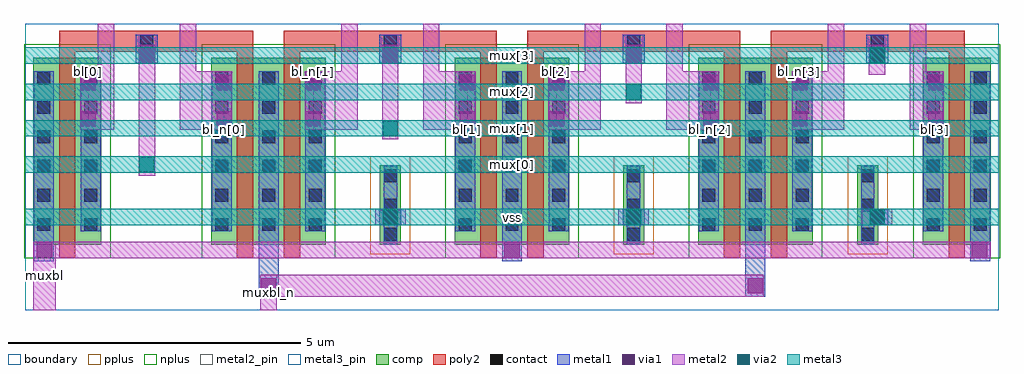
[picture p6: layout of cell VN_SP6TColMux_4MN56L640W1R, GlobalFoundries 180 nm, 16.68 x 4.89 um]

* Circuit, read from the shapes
.subckt VN_SP6TColMux_4MN56L640W1R bl[0] bl[1] bl[2] bl[3] bl_n[0] bl_n[1] bl_n[2] bl_n[3] mux[0] mux[1] mux[2] mux[3] muxbl muxbl_n vss
XM1 bl[0] mux[0] muxbl vss nfet_03v3 w=3.2u l=0.28u
XM2 muxbl_n mux[0] bl_n[0] vss nfet_03v3 w=3.2u l=0.28u
XM3 bl_n[1] mux[1] muxbl_n vss nfet_03v3 w=3.2u l=0.28u
XM4 muxbl mux[1] bl[1] vss nfet_03v3 w=3.2u l=0.28u
XM5 bl[2] mux[2] muxbl vss nfet_03v3 w=3.2u l=0.28u
XM6 muxbl_n mux[2] bl_n[2] vss nfet_03v3 w=3.2u l=0.28u
XM7 bl_n[3] mux[3] muxbl_n vss nfet_03v3 w=3.2u l=0.28u
XM8 muxbl mux[3] bl[3] vss nfet_03v3 w=3.2u l=0.28u
.ends

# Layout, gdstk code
import gdstk
lib = gdstk.Library(unit=1e-6, precision=1e-09)
def R(c, l, rs):  # rectangles x0, y0, x1, y1
    for r in rs: c.add(gdstk.rectangle(r[:2], r[2:], *l))
def A(c, l, x, y, w, h, nx, ny, dx, dy):  # array of equal rectangles
    R(c, l, [(x+i*dx, y+j*dy, x+i*dx+w, y+j*dy+h) for i in range(nx) for j in range(ny)])
def P(c, l, *ps):  # polygons
    for p in ps: c.add(gdstk.Polygon(p, *l))
boundary = (0, 0)
comp = (22, 0)
poly2 = (30, 0)
pplus = (31, 0)
nplus = (32, 0)
contact = (33, 0)
metal1 = (34, 0)
via1 = (35, 0)
metal2 = (36, 0)
metal2_pin = (36, 10)
via2 = (38, 0)
metal3 = (42, 0)
metal3_pin = (42, 10)

vn_sp6tcolmux_4mn56l640w = lib.new_cell('VN_SP6TColMux_4MN56L640W1R')
R(vn_sp6tcolmux_4mn56l640w, boundary, [(0,0,16.64,4.895)])
A(vn_sp6tcolmux_4mn56l640w, comp, 3.18, 1.115, 1.96, 3.2, 3, 1, 4.16, 0)
R(vn_sp6tcolmux_4mn56l640w, comp, [(0.14,1.115,1.3,4.315), (6.06,1.115,6.42,2.475), (10.22,1.115,10.58,2.475), (14.22,1.115,14.58,2.475), (15.34,1.115,16.5,4.315)])
P(vn_sp6tcolmux_4mn56l640w, poly2, [(4.42,0.895),(4.42,4.775),(8.06,4.775),(8.06,0.895),(7.78,0.895),(7.78,4.415),(4.7,4.415),(4.7,0.895)],
  [(8.58,0.895),(8.58,4.775),(12.22,4.775),(12.22,0.895),(11.94,0.895),(11.94,4.415),(8.86,4.415),(8.86,0.895)],
  [(0.58,0.895),(0.58,4.775),(3.9,4.775),(3.9,0.895),(3.62,0.895),(3.62,4.415),(0.86,4.415),(0.86,0.895)],
  [(12.74,0.895),(12.74,4.775),(16.06,4.775),(16.06,0.895),(15.78,0.895),(15.78,4.415),(13.02,4.415),(13.02,0.895)])
R(vn_sp6tcolmux_4mn56l640w, pplus, [(5.9,0.955,6.58,2.635), (10.06,0.955,10.74,2.635), (14.06,0.955,14.74,2.635)])
A(vn_sp6tcolmux_4mn56l640w, nplus, 3.02, 0.885, 2.28, 3.66, 3, 1, 4.16, 0)
R(vn_sp6tcolmux_4mn56l640w, nplus, [(-0.02,0.885,1.46,4.545), (15.18,0.885,16.66,4.545)])
A(vn_sp6tcolmux_4mn56l640w, contact, 6.13, 1.185, 0.22, 0.22, 1, 3, 0, 0.5)
A(vn_sp6tcolmux_4mn56l640w, contact, 10.29, 1.185, 0.22, 0.22, 1, 3, 0, 0.5)
A(vn_sp6tcolmux_4mn56l640w, contact, 14.29, 1.185, 0.22, 0.22, 1, 3, 0, 0.5)
A(vn_sp6tcolmux_4mn56l640w, contact, 0.21, 1.355, 0.22, 0.22, 1, 6, 0, 0.5)
A(vn_sp6tcolmux_4mn56l640w, contact, 1.01, 1.355, 0.22, 0.22, 1, 6, 0, 0.5)
A(vn_sp6tcolmux_4mn56l640w, contact, 3.25, 1.355, 0.22, 0.22, 3, 6, 0.8, 0.5)
A(vn_sp6tcolmux_4mn56l640w, contact, 7.41, 1.355, 0.22, 0.22, 3, 6, 0.8, 0.5)
A(vn_sp6tcolmux_4mn56l640w, contact, 11.57, 1.355, 0.22, 0.22, 3, 6, 0.8, 0.5)
A(vn_sp6tcolmux_4mn56l640w, contact, 15.41, 1.355, 0.22, 0.22, 1, 6, 0, 0.5)
A(vn_sp6tcolmux_4mn56l640w, contact, 16.21, 1.355, 0.22, 0.22, 1, 6, 0, 0.5)
A(vn_sp6tcolmux_4mn56l640w, contact, 1.97, 4.485, 0.22, 0.22, 4, 1, 4.16, 0)
A(vn_sp6tcolmux_4mn56l640w, metal1, 0.15, 0.84, 0.34, 3.24, 3, 1, 8, 0)
A(vn_sp6tcolmux_4mn56l640w, metal1, 1.89, 4.22, 0.38, 0.49, 4, 1, 4.16, 0)
R(vn_sp6tcolmux_4mn56l640w, metal1, [(3.99,0.23,4.33,4.08), (12.31,0.23,12.65,4.08), (0.95,1.35,1.29,4.08), (3.19,1.35,3.53,4.08), (4.79,1.35,5.13,4.08), (7.35,1.35,7.69,4.08), (8.95,1.35,9.29,4.08), (11.51,1.35,11.85,4.08), (13.11,1.35,13.45,4.08), (15.35,1.35,15.69,4.08)])
P(vn_sp6tcolmux_4mn56l640w, metal1, [(6.125,1.125),(6.125,1.46),(6.05,1.46),(6.05,1.72),(6.125,1.72),(6.125,2.465),(6.355,2.465),(6.355,1.72),(6.43,1.72),(6.43,1.46),(6.355,1.46),(6.355,1.125)],
  [(10.285,1.125),(10.285,1.46),(10.21,1.46),(10.21,1.72),(10.285,1.72),(10.285,2.465),(10.515,2.465),(10.515,1.72),(10.59,1.72),(10.59,1.46),(10.515,1.46),(10.515,1.125)],
  [(14.285,1.125),(14.285,2.465),(14.515,2.465),(14.515,1.72),(14.75,1.72),(14.75,1.46),(14.515,1.46),(14.515,1.125)])
A(vn_sp6tcolmux_4mn56l640w, via1, 0.2, 0.9, 0.26, 0.26, 3, 1, 7.99, 0)
A(vn_sp6tcolmux_4mn56l640w, via1, 6.11, 1.46, 0.26, 0.26, 3, 1, 4.16, 0)
A(vn_sp6tcolmux_4mn56l640w, via1, 1.95, 4.22, 0.26, 0.26, 4, 1, 4.16, 0)
R(vn_sp6tcolmux_4mn56l640w, via1, [(4.03,0.29,4.29,0.55), (12.35,0.29,12.61,0.55), (0.95,3.14,1.21,3.4), (3.27,3.14,3.53,3.4), (4.79,3.14,5.05,3.4), (7.43,3.14,7.69,3.4), (8.95,3.14,9.21,3.4), (11.59,3.14,11.85,3.4), (13.11,3.14,13.37,3.4), (15.43,3.14,15.69,3.4), (0.95,3.76,1.21,4.02), (3.27,3.76,3.53,4.02), (4.79,3.76,5.05,4.02), (7.43,3.76,7.69,4.02), (8.95,3.76,9.21,4.02), (11.59,3.76,11.85,4.02), (13.11,3.76,13.37,4.02), (15.43,3.76,15.69,4.02)])
A(vn_sp6tcolmux_4mn56l640w, metal2, 5.98, 1.45, 0.52, 0.28, 3, 1, 4.16, 0)
R(vn_sp6tcolmux_4mn56l640w, metal2, [(1.94,2.3,2.22,4.54), (6.1,2.92,6.38,4.54), (10.26,3.54,10.54,4.54), (14.42,4.02,14.7,4.54)])
P(vn_sp6tcolmux_4mn56l640w, metal2, [(15.12,3.08),(15.12,4.895),(15.4,4.895),(15.4,4.08),(15.7,4.08),(15.7,3.08)],
  [(4.78,3.08),(4.78,4.08),(5.4,4.08),(5.4,4.895),(5.68,4.895),(5.68,3.08)],
  [(8.94,3.08),(8.94,4.08),(9.56,4.08),(9.56,4.895),(9.84,4.895),(9.84,3.08)],
  [(13.1,3.08),(13.1,4.08),(13.72,4.08),(13.72,4.895),(14,4.895),(14,3.08)],
  [(4.02,0),(4.02,0.61),(12.62,0.61),(12.62,0.23),(4.3,0.23),(4.3,0)],
  [(2.64,3.08),(2.64,4.895),(2.92,4.895),(2.92,4.08),(3.54,4.08),(3.54,3.08)],
  [(6.8,3.08),(6.8,4.895),(7.08,4.895),(7.08,4.08),(7.7,4.08),(7.7,3.08)],
  [(10.96,3.08),(10.96,4.895),(11.24,4.895),(11.24,4.08),(11.86,4.08),(11.86,3.08)],
  [(0.94,3.08),(0.94,4.08),(1.24,4.08),(1.24,4.895),(1.52,4.895),(1.52,3.08)],
  [(0.14,0),(0.14,1.17),(16.5,1.17),(16.5,0.89),(0.52,0.89),(0.52,0)])
R(vn_sp6tcolmux_4mn56l640w, metal2_pin, [(0.14,0,0.52,1.17), (4.02,0,4.3,0.61)])
P(vn_sp6tcolmux_4mn56l640w, metal2_pin, [(15.12,3.08),(15.12,4.895),(15.4,4.895),(15.4,4.08),(15.56,4.08),(15.56,3.08)],
  [(4.92,3.08),(4.92,4.08),(5.4,4.08),(5.4,4.895),(5.68,4.895),(5.68,3.08)],
  [(9.08,3.08),(9.08,4.08),(9.56,4.08),(9.56,4.895),(9.84,4.895),(9.84,3.08)],
  [(13.24,3.08),(13.24,4.08),(13.72,4.08),(13.72,4.895),(14,4.895),(14,3.08)],
  [(2.64,3.08),(2.64,4.895),(2.92,4.895),(2.92,4.08),(3.4,4.08),(3.4,3.08)],
  [(6.8,3.08),(6.8,4.895),(7.08,4.895),(7.08,4.08),(7.56,4.08),(7.56,3.08)],
  [(10.96,3.08),(10.96,4.895),(11.24,4.895),(11.24,4.08),(11.72,4.08),(11.72,3.08)],
  [(1.08,3.08),(1.08,4.08),(1.24,4.08),(1.24,4.895),(1.52,4.895),(1.52,3.08)])
A(vn_sp6tcolmux_4mn56l640w, via2, 6.11, 1.46, 0.26, 0.26, 3, 1, 4.16, 0)
R(vn_sp6tcolmux_4mn56l640w, via2, [(1.95,2.36,2.21,2.62), (6.11,2.98,6.37,3.24), (10.27,3.6,10.53,3.86), (14.43,4.22,14.69,4.48)])
A(vn_sp6tcolmux_4mn56l640w, metal3, 0, 2.35, 16.64, 0.28, 1, 4, 0, 0.62)
R(vn_sp6tcolmux_4mn56l640w, metal3, [(0,1.45,16.64,1.73)])
A(vn_sp6tcolmux_4mn56l640w, metal3_pin, 0, 2.35, 16.64, 0.28, 1, 4, 0, 0.62)
R(vn_sp6tcolmux_4mn56l640w, metal3_pin, [(0,1.45,16.64,1.73)])
vn_sp6tcolmux_4mn56l640w.add(gdstk.Label('mux[3]', (8.32,4.35), layer=42, texttype=10))
vn_sp6tcolmux_4mn56l640w.add(gdstk.Label('mux[2]', (8.32,3.73), layer=42, texttype=10))
vn_sp6tcolmux_4mn56l640w.add(gdstk.Label('mux[1]', (8.32,3.11), layer=42, texttype=10))
vn_sp6tcolmux_4mn56l640w.add(gdstk.Label('mux[0]', (8.32,2.49), layer=42, texttype=10))
vn_sp6tcolmux_4mn56l640w.add(gdstk.Label('vss', (8.32,1.59), layer=42, texttype=10))
vn_sp6tcolmux_4mn56l640w.add(gdstk.Label('bl_n[3]', (13.24,4.08), layer=36, texttype=10))
vn_sp6tcolmux_4mn56l640w.add(gdstk.Label('bl[2]', (9.08,4.08), layer=36, texttype=10))
vn_sp6tcolmux_4mn56l640w.add(gdstk.Label('bl_n[1]', (4.92,4.08), layer=36, texttype=10))
vn_sp6tcolmux_4mn56l640w.add(gdstk.Label('bl[3]', (15.56,3.08), layer=36, texttype=10))
vn_sp6tcolmux_4mn56l640w.add(gdstk.Label('bl_n[2]', (11.72,3.08), layer=36, texttype=10))
vn_sp6tcolmux_4mn56l640w.add(gdstk.Label('muxbl_n', (4.16,0.305), layer=36, texttype=10))
vn_sp6tcolmux_4mn56l640w.add(gdstk.Label('bl[1]', (7.56,3.08), layer=36, texttype=10))
vn_sp6tcolmux_4mn56l640w.add(gdstk.Label('bl_n[0]', (3.4,3.08), layer=36, texttype=10))
vn_sp6tcolmux_4mn56l640w.add(gdstk.Label('bl[0]', (1.08,4.08), layer=36, texttype=10))
vn_sp6tcolmux_4mn56l640w.add(gdstk.Label('muxbl', (0.33,0.585), layer=36, texttype=10))

lib.write_gds('VN_SP6TColMux_4MN56L640W1R.gds')
